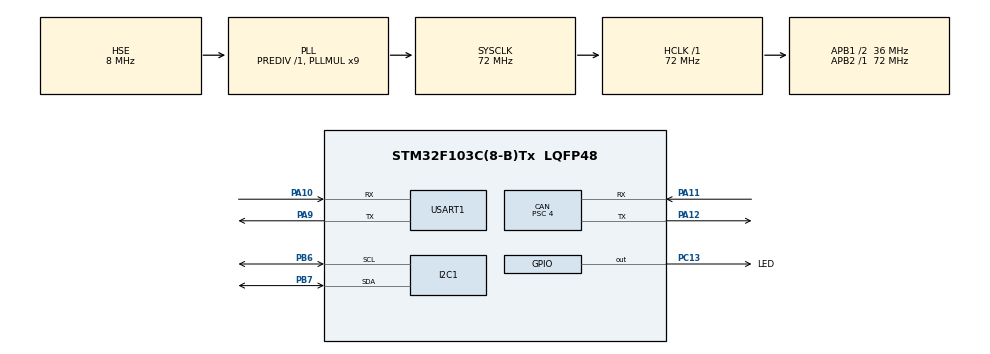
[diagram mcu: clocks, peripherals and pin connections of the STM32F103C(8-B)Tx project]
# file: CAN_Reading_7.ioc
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CAN.BS1=CAN_BS1_15TQ
CAN.BS2=CAN_BS2_2TQ
CAN.CalculateBaudRate=500000
CAN.CalculateTimeBit=2000
CAN.CalculateTimeQuantum=111.11111111111111
CAN.Prescaler=4
Mcu.Family=STM32F1
Mcu.Name=STM32F103C(8-B)Tx
Mcu.Package=LQFP48
NVIC.PriorityGroup=NVIC_PRIORITYGROUP_4
NVIC.USB_LP_CAN1_RX0_IRQn=true\:0\:0\:false\:false\:true\:true\:true\:true
PA10.Mode=Asynchronous
PA10.Signal=USART1_RX
PA11.GPIO_PuPd=GPIO_PULLUP
PA11.Mode=CAN_Activate
PA11.Signal=CAN_RX
PA12.Mode=CAN_Activate
PA12.Signal=CAN_TX
PA9.Mode=Asynchronous
PA9.Signal=USART1_TX
PB6.Mode=I2C
PB6.Signal=I2C1_SCL
PB7.Mode=I2C
PB7.Signal=I2C1_SDA
PC13-TAMPER-RTC.GPIO_Label=LED
PC13-TAMPER-RTC.PinState=GPIO_PIN_RESET
PC13-TAMPER-RTC.Signal=GPIO_Output
PD0-OSC_IN.Mode=HSE-External-Oscillator
PD0-OSC_IN.Signal=RCC_OSC_IN
PD1-OSC_OUT.Mode=HSE-External-Oscillator
PD1-OSC_OUT.Signal=RCC_OSC_OUT
ProjectManager.HeapSize=0x200
ProjectManager.StackSize=0x400
ProjectManager.TargetToolchain=Makefile
RCC.AHBFreq_Value=72000000
RCC.APB1CLKDivider=RCC_HCLK_DIV2
RCC.APB1Freq_Value=36000000
RCC.APB1TimFreq_Value=72000000
RCC.APB2Freq_Value=72000000
RCC.APB2TimFreq_Value=72000000
RCC.HCLKFreq_Value=72000000
RCC.PLLMUL=RCC_PLL_MUL9
RCC.PLLSourceVirtual=RCC_PLLSOURCE_HSE
RCC.SYSCLKFreq_VALUE=72000000
RCC.SYSCLKSource=RCC_SYSCLKSOURCE_PLLCLK
RCC.USBFreq_Value=72000000
USART1.VirtualMode=VM_ASYNC
VP_SYS_VS_ND.Mode=No_Debug
board=custom

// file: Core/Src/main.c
/* USER CODE BEGIN Header */
/**
  ******************************************************************************
  * @file           : main.c
  * @brief          : Main program body
  ******************************************************************************
  * @attention
  *
  * Copyright (c) 2023 STMicroelectronics.
  * All rights reserved.
  *
  * This software is licensed under terms that can be found in the LICENSE file
  * in the root directory of this software component.
  * If no LICENSE file comes with this software, it is provided AS-IS.
  *
  ******************************************************************************
  */
/* USER CODE END Header */
#include "main.h"
#include "decode_logic.h"

CAN_HandleTypeDef hcan;

I2C_HandleTypeDef hi2c1;

UART_HandleTypeDef huart1;

void SystemClock_Config(void);
static void MX_GPIO_Init(void);
static void MX_CAN_Init(void);
static void MX_I2C1_Init(void);
static void MX_USART1_UART_Init(void);

/* USER CODE BEGIN 0 */
CAN_TxHeaderTypeDef TxHeader;
CAN_RxHeaderTypeDef RxHeader;

//uint8_t TxData[8];
uint8_t RxData[8];

uint8_t TxMailbox;

char msg[50] = {"\0"};

DecodedMessage decodedMessage;
/* USER CODE END 0 */

int main(void)
{

  /* MCU Configuration--------------------------------------------------------*/

  /* Reset of all peripherals, Initializes the Flash interface and the Systick. */
  HAL_Init();

  /* Configure the system clock */
  SystemClock_Config();

  /* Initialize all configured peripherals */
  MX_GPIO_Init();
  MX_CAN_Init();
  MX_I2C1_Init();
  MX_USART1_UART_Init();
  /* USER CODE BEGIN 2 */
  //HAL_CAN_MspInit(&hcan);
  //Start CAN
  HAL_CAN_Start(&hcan);

  //Activate Notification when CAN_IT_RXFIFO0_MSG_PENDING interrupt is triggered.
  HAL_CAN_ActivateNotification(&hcan,CAN_IT_RX_FIFO0_MSG_PENDING);

  //A Callback function is called when interrupt CAN_IT_RX_FIFO0_MSG_PENDING is triggered: defined on line 341

  // TxData[0] = 0x64;
  // TxData[1] = 0x64;
  // TxData[2] = 0x64;
  // TxData[3] = 0x64;
  // TxData[4] = 0x64;
  // TxData[5] = 0x64;
  // TxData[6] = 0x64;
  // TxData[7] = 0x64;

  // TxHeader.DLC = 8;
  // TxHeader.StdId = 0x18FF;
  // TxHeader.IDE = CAN_ID_STD;
  // TxHeader.RTR = CAN_RTR_DATA;

  // if(HAL_CAN_AddTxMessage(&hcan, &TxHeader, TxData, &TxMailbox) == HAL_OK) {
  //     sprintf(msg, "Message Sent\n");
  //     HAL_UART_Transmit(&huart1, (uint8_t*)msg, strlen(msg), HAL_MAX_DELAY);
  //   }
  /* USER CODE END 2 */

  /* Infinite loop */
  while (1)
  {
    sprintf(msg, "Wire Connected: %d\n Battery Charging: %d\n Battery Low status:%d\n Battery Ready: %d \n", decodedMessage.wire_connected, decodedMessage.battery_charging, decodedMessage.battery_low, decodedMessage.battery_ready);
    HAL_UART_Transmit(&huart1, (uint8_t*)msg, strlen(msg), HAL_MAX_DELAY);

    sprintf(msg, "SOC: %d\n Battery Current: %f\n Battery Voltage: %f\n Battery Failure: %s\n", decodedMessage.soc, decodedMessage.battery_current, decodedMessage.battery_voltage, decodedMessage.battery_failure);
    HAL_UART_Transmit(&huart1, (uint8_t*)msg, strlen(msg), HAL_MAX_DELAY);
  }
}

void SystemClock_Config(void)
{
  RCC_OscInitTypeDef RCC_OscInitStruct = {0};
  RCC_ClkInitTypeDef RCC_ClkInitStruct = {0};

  /** Initializes the RCC Oscillators according to the specified parameters
  * in the RCC_OscInitTypeDef structure.
  */
  RCC_OscInitStruct.OscillatorType = RCC_OSCILLATORTYPE_HSE;
  RCC_OscInitStruct.HSEState = RCC_HSE_ON;
  RCC_OscInitStruct.HSEPredivValue = RCC_HSE_PREDIV_DIV1;
  RCC_OscInitStruct.HSIState = RCC_HSI_ON;
  RCC_OscInitStruct.PLL.PLLState = RCC_PLL_ON;
  RCC_OscInitStruct.PLL.PLLSource = RCC_PLLSOURCE_HSE;
  RCC_OscInitStruct.PLL.PLLMUL = RCC_PLL_MUL9;
  if (HAL_RCC_OscConfig(&RCC_OscInitStruct) != HAL_OK)
  {
    Error_Handler();
  }

  /** Initializes the CPU, AHB and APB buses clocks
  */
  RCC_ClkInitStruct.ClockType = RCC_CLOCKTYPE_HCLK|RCC_CLOCKTYPE_SYSCLK
                              |RCC_CLOCKTYPE_PCLK1|RCC_CLOCKTYPE_PCLK2;
  RCC_ClkInitStruct.SYSCLKSource = RCC_SYSCLKSOURCE_PLLCLK;
  RCC_ClkInitStruct.AHBCLKDivider = RCC_SYSCLK_DIV1;
  RCC_ClkInitStruct.APB1CLKDivider = RCC_HCLK_DIV2;
  RCC_ClkInitStruct.APB2CLKDivider = RCC_HCLK_DIV1;

  if (HAL_RCC_ClockConfig(&RCC_ClkInitStruct, FLASH_LATENCY_2) != HAL_OK)
  {
    Error_Handler();
  }
}

static void MX_CAN_Init(void)
{

  hcan.Instance = CAN1;
  hcan.Init.Prescaler = 4;
  hcan.Init.Mode = CAN_MODE_NORMAL;
  hcan.Init.SyncJumpWidth = CAN_SJW_1TQ;
  hcan.Init.TimeSeg1 = CAN_BS1_15TQ;
  hcan.Init.TimeSeg2 = CAN_BS2_2TQ;
  hcan.Init.TimeTriggeredMode = DISABLE;
  hcan.Init.AutoBusOff = DISABLE;
  hcan.Init.AutoWakeUp = DISABLE;
  hcan.Init.AutoRetransmission = DISABLE;
  hcan.Init.ReceiveFifoLocked = DISABLE;
  hcan.Init.TransmitFifoPriority = DISABLE;

  if (HAL_CAN_Init(&hcan) != HAL_OK)
  {
    Error_Handler();
  }
  /* USER CODE BEGIN CAN_Init 2 */
  CAN_FilterTypeDef canfilterConfig;
  canfilterConfig.FilterActivation = CAN_FILTER_ENABLE;
  canfilterConfig.FilterBank = 10;
  canfilterConfig.FilterFIFOAssignment = CAN_RX_FIFO0;
  canfilterConfig.FilterIdHigh = 0x0000;
  canfilterConfig.FilterIdLow = 0x0000;
  canfilterConfig.FilterMaskIdHigh = 0;
  canfilterConfig.FilterMaskIdLow = 0;
  canfilterConfig.FilterMode = CAN_FILTERMODE_IDMASK;
  canfilterConfig.FilterScale = CAN_FILTERSCALE_32BIT;

  if(HAL_CAN_ConfigFilter(&hcan, &canfilterConfig) != HAL_OK) {
    Error_Handler();
  }
  /* USER CODE END CAN_Init 2 */

}

static void MX_I2C1_Init(void)
{

  hi2c1.Instance = I2C1;
  hi2c1.Init.ClockSpeed = 100000;
  hi2c1.Init.DutyCycle = I2C_DUTYCYCLE_2;
  hi2c1.Init.OwnAddress1 = 0;
  hi2c1.Init.AddressingMode = I2C_ADDRESSINGMODE_7BIT;
  hi2c1.Init.DualAddressMode = I2C_DUALADDRESS_DISABLE;
  hi2c1.Init.OwnAddress2 = 0;
  hi2c1.Init.GeneralCallMode = I2C_GENERALCALL_DISABLE;
  hi2c1.Init.NoStretchMode = I2C_NOSTRETCH_DISABLE;
  if (HAL_I2C_Init(&hi2c1) != HAL_OK)
  {
    Error_Handler();
  }

}

static void MX_USART1_UART_Init(void)
{

  huart1.Instance = USART1;
  huart1.Init.BaudRate = 115200;
  huart1.Init.WordLength = UART_WORDLENGTH_8B;
  huart1.Init.StopBits = UART_STOPBITS_1;
  huart1.Init.Parity = UART_PARITY_NONE;
  huart1.Init.Mode = UART_MODE_TX_RX;
  huart1.Init.HwFlowCtl = UART_HWCONTROL_NONE;
  huart1.Init.OverSampling = UART_OVERSAMPLING_16;
  if (HAL_UART_Init(&huart1) != HAL_OK)
  {
    Error_Handler();
  }

}

static void MX_GPIO_Init(void)
{
  GPIO_InitTypeDef GPIO_InitStruct = {0};

  /* GPIO Ports Clock Enable */
  __HAL_RCC_GPIOC_CLK_ENABLE();
  __HAL_RCC_GPIOD_CLK_ENABLE();
  __HAL_RCC_GPIOA_CLK_ENABLE();
  __HAL_RCC_GPIOB_CLK_ENABLE();

  /*Configure GPIO pin Output Level */
  HAL_GPIO_WritePin(LED_GPIO_Port, LED_Pin, GPIO_PIN_RESET);

  /*Configure GPIO pin : LED_Pin */
  GPIO_InitStruct.Pin = LED_Pin;
  GPIO_InitStruct.Mode = GPIO_MODE_OUTPUT_PP;
  GPIO_InitStruct.Pull = GPIO_NOPULL;
  GPIO_InitStruct.Speed = GPIO_SPEED_FREQ_LOW;
  HAL_GPIO_Init(LED_GPIO_Port, &GPIO_InitStruct);

}

/* USER CODE BEGIN 4 */

uint8_t wire_connected,battery_charging, battery_low, battery_ready, discharge_MOS;

void HAL_CAN_RxFifo0MsgPendingCallback(CAN_HandleTypeDef *hcan) {
  sprintf(msg, "Callback called Received");
  HAL_UART_Transmit(&huart1, (uint8_t*)msg, strlen(msg), HAL_MAX_DELAY);

  //Retrieve pending message from CAN_RXFIFO0 and store the data into RxData buffer, and frame info into RxHeader
  HAL_CAN_GetRxMessage(hcan, CAN_RX_FIFO0, &RxHeader, RxData);

  //call the decode logic to set the flags

  decodeMessage(&RxData, &decodedMessage);

}

/* USER CODE END 4 */

void Error_Handler(void)
{
  __disable_irq();
  while (1)
  {
  }
}
